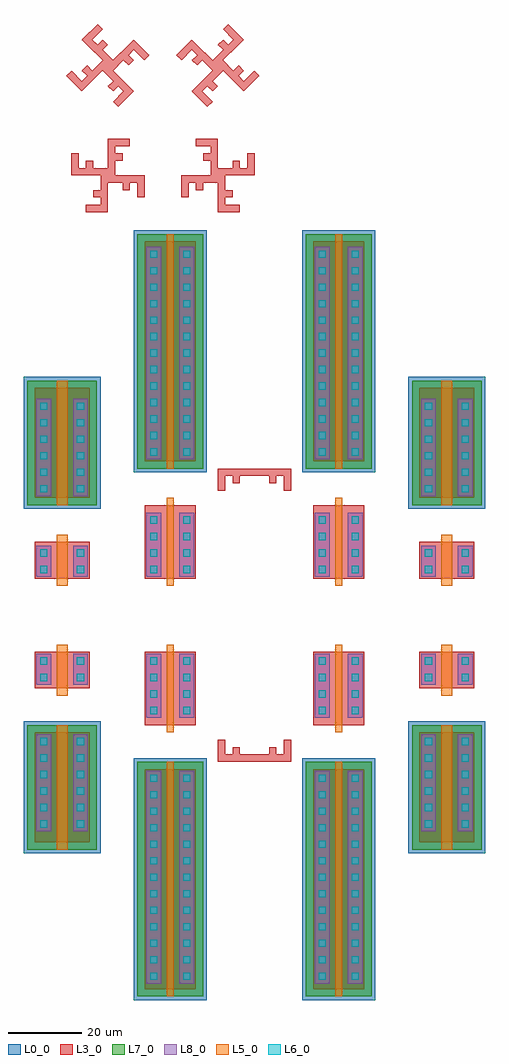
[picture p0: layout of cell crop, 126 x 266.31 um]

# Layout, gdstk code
from math import pi, radians
import gdstk
lib = gdstk.Library(unit=1e-6, precision=1e-09)
def R(c, l, rs):  # rectangles x0, y0, x1, y1
    for r in rs: c.add(gdstk.rectangle(r[:2], r[2:], *l))
def A(c, l, x, y, w, h, nx, ny, dx, dy):  # array of equal rectangles
    R(c, l, [(x+i*dx, y+j*dy, x+i*dx+w, y+j*dy+h) for i in range(nx) for j in range(ny)])
def P(c, l, *ps):  # polygons
    for p in ps: c.add(gdstk.Polygon(p, *l))
L0_0 = (0, 0)
L3_0 = (3, 0)
L5_0 = (5, 0)
L6_0 = (6, 0)
L7_0 = (7, 0)
L8_0 = (8, 0)

fcell = lib.new_cell('Fcell')
P(fcell, L3_0, [(2,0),(2,4),(4,4),(4,6),(2,6),(2,8),(6,8),(6,10),(0,10),(0,0)])

cell_1 = lib.new_cell('cell_1')
R(cell_1, L0_0, [(-3,19,18,55), (27,29,47,95)])
R(cell_1, L3_0, [(0,0,15,10), (30,0,44,20), (0,22,15,52), (30,32,44,92)])
R(cell_1, L5_0, [(6,-2,9,12), (36,-2,38,22), (6,20,9,54), (36,30,38,94)])
A(cell_1, L6_0, 31.5, 1.5, 2, 2, 1, 4, 0, 4.5)
A(cell_1, L6_0, 40.5, 1.5, 2, 2, 1, 4, 0, 4.5)
A(cell_1, L6_0, 1.5, 23.5, 2, 2, 1, 6, 0, 4.5)
A(cell_1, L6_0, 11.5, 23.5, 2, 2, 1, 6, 0, 4.5)
A(cell_1, L6_0, 31.5, 33.5, 2, 2, 1, 13, 0, 4.5)
A(cell_1, L6_0, 40.5, 33.5, 2, 2, 1, 13, 0, 4.5)
R(cell_1, L6_0, [(1.5,1.5,3.5,3.5), (11.5,1.5,13.5,3.5), (1.5,6,3.5,8), (11.5,6,13.5,8)])
R(cell_1, L7_0, [(-2,20,17,54), (28,30,46,94)])
R(cell_1, L8_0, [(0.5,0.5,4.5,9), (10.5,0.5,14.5,9), (30.5,0.5,34.5,18), (39.5,0.5,43.5,18), (0.5,22.5,4.5,49), (10.5,22.5,14.5,49), (30.5,32.5,34.5,90.5), (39.5,32.5,43.5,90.5)])
cell_1.add(gdstk.Reference(fcell, (60,30), rotation=3*pi/2, x_reflection=True))

textrefs = lib.new_cell('textrefs')
textrefs.add(gdstk.Label('Text 315 deg fx test', (50,65), layer=5, texttype=0))
textrefs.add(gdstk.Label('Text 135 deg fx test', (50,65), layer=5, texttype=0))
textrefs.add(gdstk.Label('Text 225 deg -- test', (10,65), layer=5, texttype=0))
textrefs.add(gdstk.Label('Text 180 deg fx test', (50,15), layer=5, texttype=0))
textrefs.add(gdstk.Label('Text 225 deg fx test', (50,65), layer=5, texttype=0))
textrefs.add(gdstk.Label('Toped', (0,90), layer=5, texttype=0))
textrefs.add(gdstk.Label('Text 135 deg -- test', (10,65), layer=5, texttype=0))
textrefs.add(gdstk.Label('Text  45 deg -- test', (10,65), layer=5, texttype=0))
textrefs.add(gdstk.Label('Text 315 deg -- test', (10,65), layer=5, texttype=0))
textrefs.add(gdstk.Label('Text  45 deg fx test', (50,65), layer=5, texttype=0))
textrefs.add(gdstk.Label('Text   0 deg fx test', (50,15), layer=5, texttype=0))
textrefs.add(gdstk.Label('Text  90 deg fx test', (50,15), layer=5, texttype=0))
textrefs.add(gdstk.Label('Text 270 deg fx test', (50,15), layer=5, texttype=0))
textrefs.add(gdstk.Label('Text  90 deg -- test', (10,10), layer=5, texttype=0))
textrefs.add(gdstk.Label('Text   0 deg -- test', (10,10), layer=5, texttype=0))
textrefs.add(gdstk.Label('Text 270 deg -- test', (10,10), layer=5, texttype=0))
textrefs.add(gdstk.Label('text 180 deg -- test', (10,10), layer=5, texttype=0))

cellrefs = lib.new_cell('cellrefs')
cellrefs.add(gdstk.Reference(fcell, (10,40), rotation=radians(-45)))
cellrefs.add(gdstk.Reference(fcell, (10,40), rotation=radians(135)))
cellrefs.add(gdstk.Reference(fcell, (10,40), rotation=radians(45)))
cellrefs.add(gdstk.Reference(fcell, (10,40), rotation=radians(-135)))
cellrefs.add(gdstk.Reference(fcell, (40,40), rotation=radians(-135), x_reflection=True))
cellrefs.add(gdstk.Reference(fcell, (40,40), rotation=radians(45), x_reflection=True))
cellrefs.add(gdstk.Reference(fcell, (40,40), rotation=radians(135), x_reflection=True))
cellrefs.add(gdstk.Reference(fcell, (40,40), rotation=radians(-45), x_reflection=True))
cellrefs.add(gdstk.Reference(fcell, (40,10), rotation=pi, x_reflection=True))
cellrefs.add(gdstk.Reference(fcell, (40,10), rotation=pi/2, x_reflection=True))
cellrefs.add(gdstk.Reference(fcell, (40,10), x_reflection=True))
cellrefs.add(gdstk.Reference(fcell, (40,10), rotation=3*pi/2, x_reflection=True))
cellrefs.add(gdstk.Reference(fcell, (10,10), rotation=pi/2))
cellrefs.add(gdstk.Reference(fcell, (10,10)))
cellrefs.add(gdstk.Reference(fcell, (10,10), rotation=3*pi/2))
cellrefs.add(gdstk.Reference(fcell, (10,10), rotation=pi))

crop = lib.new_cell('crop')
crop.add(gdstk.Reference(cell_1, (0,0)))
crop.add(gdstk.Reference(cell_1, (120,0), rotation=pi, x_reflection=True))
crop.add(gdstk.Reference(textrefs, (140,-70)))
crop.add(gdstk.Reference(cellrefs, (10,100)))
crop.add(gdstk.Reference(cell_1, (120,-20), rotation=pi))
crop.add(gdstk.Reference(cell_1, (0,-20), x_reflection=True))

lib.write_gds('crop.gds')
